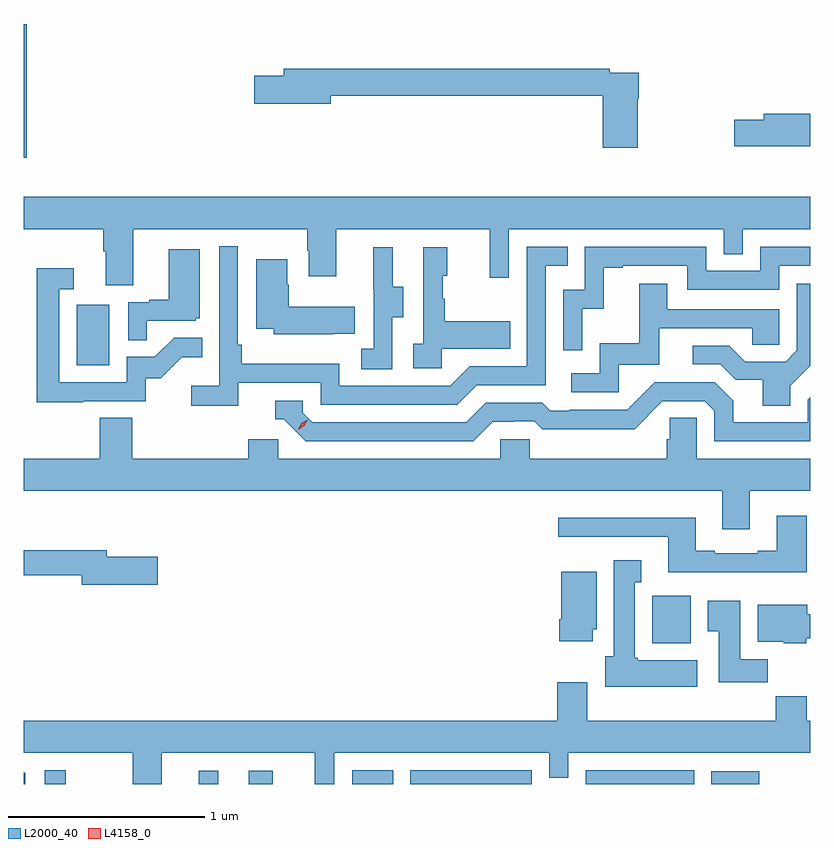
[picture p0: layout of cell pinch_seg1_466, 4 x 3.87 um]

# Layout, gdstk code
import gdstk
lib = gdstk.Library(unit=1e-6, precision=1e-09)
def R(c, l, rs):  # rectangles x0, y0, x1, y1
    for r in rs: c.add(gdstk.rectangle(r[:2], r[2:], *l))
def P(c, l, *ps):  # polygons
    for p in ps: c.add(gdstk.Polygon(p, *l))
L2000_40 = (2000, 40)
L4158_0 = (4158, 0)

pinch_seg1_466 = lib.new_cell('pinch_seg1_466')
R(pinch_seg1_466, L2000_40, [(1077.915,534.257,1077.922,534.313), (1078.02,534.257,1078.129,534.328), (1078.805,534.257,1078.903,534.325), (1079.058,534.257,1079.182,534.325), (1079.586,534.257,1079.795,534.327), (1079.88,534.257,1080.498,534.327), (1080.774,534.257,1081.326,534.327), (1081.411,534.257,1081.657,534.321), (1081.112,534.974,1081.309,535.216), (1078.184,536.388,1078.348,536.695), (1077.915,537.444,1077.929,538.124)])
P(pinch_seg1_466, L2000_40, [(1081.038,537.743),(1081.043,537.743),(1081.043,537.876),(1080.896,537.876),(1080.896,537.896),(1079.237,537.896),(1079.237,537.86),(1079.088,537.86),(1079.088,537.718),(1079.476,537.718),(1079.476,537.76),(1080.86,537.76),(1080.86,537.495),(1081.038,537.495)],
  [(1081.915,537.668),(1081.679,537.668),(1081.679,537.638),(1081.53,537.638),(1081.53,537.503),(1081.915,537.503)],
  [(1078.471,537.08),(1079.356,537.08),(1079.356,536.969),(1079.363,536.969),(1079.363,536.841),(1079.503,536.841),(1079.503,537.08),(1080.284,537.08),(1080.284,536.832),(1080.381,536.832),(1080.381,537.08),(1081.476,537.08),(1081.476,536.953),(1081.572,536.953),(1081.572,537.08),(1081.915,537.08),(1081.915,537.244),(1077.915,537.244),(1077.915,537.08),(1078.319,537.08),(1078.319,536.968),(1078.331,536.968),(1078.331,536.794),(1078.471,536.794)],
  [(1079.006,536.298),(1079.424,536.298),(1079.424,536.187),(1080.121,536.187),(1080.22,536.286),(1080.57,536.286),(1080.57,536.895),(1080.683,536.895),(1080.683,536.991),(1080.474,536.991),(1080.474,536.382),(1080.183,536.382),(1080.084,536.283),(1079.52,536.283),(1079.52,536.395),(1079.024,536.395),(1079.024,536.491),(1079.004,536.491),(1079.004,536.992),(1078.908,536.992),(1078.908,536.284),(1078.767,536.284),(1078.767,536.182),(1079.006,536.182)],
  [(1080.756,536.675),(1080.866,536.675),(1080.866,536.883),(1080.961,536.883),(1080.961,536.895),(1081.29,536.895),(1081.29,536.772),(1081.758,536.772),(1081.758,536.895),(1081.915,536.895),(1081.915,536.991),(1081.662,536.991),(1081.662,536.868),(1081.386,536.868),(1081.386,536.991),(1080.768,536.991),(1080.768,536.772),(1080.66,536.772),(1080.66,536.463),(1080.756,536.463)],
  [(1079.79,536.632),(1079.845,536.632),(1079.845,536.787),(1079.791,536.787),(1079.791,536.989),(1079.693,536.989),(1079.693,536.775),(1079.694,536.775),(1079.694,536.471),(1079.631,536.471),(1079.631,536.368),(1079.79,536.368)],
  [(1080.042,536.471),(1080.389,536.471),(1080.389,536.611),(1080.055,536.611),(1080.055,536.726),(1080.045,536.726),(1080.045,536.844),(1080.07,536.844),(1080.07,536.989),(1079.946,536.989),(1079.946,536.498),(1079.895,536.498),(1079.895,536.373),(1080.042,536.373)],
  [(1078.541,536.613),(1078.788,536.613),(1078.788,536.628),(1078.81,536.628),(1078.81,536.977),(1078.652,536.977),(1078.652,536.722),(1078.553,536.722),(1078.553,536.709),(1078.446,536.709),(1078.446,536.515),(1078.541,536.515)],
  [(1079.489,536.549),(1079.597,536.549),(1079.597,536.686),(1079.262,536.686),(1079.262,536.798),(1079.254,536.798),(1079.254,536.926),(1079.096,536.926),(1079.096,536.573),(1079.187,536.573),(1079.187,536.546),(1079.489,536.546)],
  [(1078.217,536.205),(1078.536,536.205),(1078.536,536.322),(1078.612,536.322),(1078.719,536.429),(1078.823,536.429),(1078.823,536.528),(1078.679,536.528),(1078.581,536.43),(1078.437,536.43),(1078.437,536.301),(1078.095,536.301),(1078.095,536.775),(1078.168,536.775),(1078.168,536.881),(1077.979,536.881),(1077.979,536.2),(1078.217,536.2)],
  [(1081.813,536.284),(1081.915,536.386),(1081.915,536.803),(1081.848,536.803),(1081.848,536.463),(1081.791,536.406),(1081.585,536.406),(1081.504,536.487),(1081.317,536.487),(1081.317,536.394),(1081.458,536.394),(1081.538,536.314),(1081.673,536.314),(1081.673,536.182),(1081.813,536.182)],
  [(1080.942,536.391),(1081.147,536.391),(1081.147,536.577),(1081.621,536.577),(1081.621,536.493),(1081.758,536.493),(1081.758,536.673),(1081.189,536.673),(1081.189,536.803),(1081.045,536.803),(1081.045,536.5),(1080.846,536.5),(1080.846,536.346),(1080.699,536.346),(1080.699,536.25),(1080.942,536.25)],
  [(1080.301,536.1),(1080.408,536.1),(1080.408,536.103),(1080.511,536.103),(1080.553,536.061),(1080.786,536.061),(1080.786,536.063),(1081.022,536.063),(1081.164,536.205),(1081.38,536.205),(1081.428,536.157),(1081.428,536.001),(1081.915,536.001),(1081.915,536.224),(1081.902,536.211),(1081.902,536.097),(1081.525,536.097),(1081.525,536.207),(1081.431,536.301),(1081.125,536.301),(1080.984,536.16),(1080.691,536.16),(1080.691,536.157),(1080.592,536.157),(1080.553,536.196),(1080.264,536.196),(1080.165,536.097),(1079.382,536.097),(1079.334,536.145),(1079.334,536.208),(1079.195,536.208),(1079.195,536.112),(1079.238,536.112),(1079.349,536.001),(1080.202,536.001)],
  [(1081.609,535.748),(1081.915,535.748),(1081.915,535.912),(1081.338,535.912),(1081.338,536.12),(1081.201,536.12),(1081.201,536.01),(1081.187,536.01),(1081.187,535.912),(1080.489,535.912),(1080.489,536.01),(1080.339,536.01),(1080.339,535.912),(1079.208,535.912),(1079.208,536.01),(1079.057,536.01),(1079.057,535.912),(1078.466,535.912),(1078.466,536.12),(1078.301,536.12),(1078.301,535.912),(1077.915,535.912),(1077.915,535.748),(1081.469,535.748),(1081.469,535.554),(1081.609,535.554)],
  [(1081.898,535.621),(1081.745,535.621),(1081.745,535.444),(1081.649,535.444),(1081.649,535.431),(1081.429,535.431),(1081.429,535.444),(1081.333,535.444),(1081.333,535.612),(1080.633,535.612),(1080.633,535.515),(1081.193,535.515),(1081.193,535.334),(1081.898,535.334)],
  [(1078.597,535.413),(1078.336,535.413),(1078.336,535.447),(1077.915,535.447),(1077.915,535.318),(1078.208,535.318),(1078.208,535.271),(1078.597,535.271)],
  [(1081.342,534.886),(1081.038,534.886),(1081.038,534.9),(1081.024,534.9),(1081.024,535.283),(1081.057,535.283),(1081.057,535.396),(1080.917,535.396),(1080.917,534.906),(1080.872,534.906),(1080.872,534.752),(1081.342,534.752)],
  [(1080.808,535.044),(1080.829,535.044),(1080.829,535.336),(1080.65,535.336),(1080.65,535.096),(1080.638,535.096),(1080.638,534.984),(1080.808,534.984)],
  [(1081.7,534.892),(1081.561,534.892),(1081.561,535.189),(1081.394,535.189),(1081.394,535.033),(1081.451,535.033),(1081.451,534.774),(1081.7,534.774)],
  [(1081.896,534.998),(1081.915,534.998),(1081.915,535.12),(1081.9,535.12),(1081.9,535.168),(1081.649,535.168),(1081.649,534.98),(1081.782,534.98),(1081.782,534.974),(1081.896,534.974)],
  [(1078.615,534.416),(1079.396,534.416),(1079.396,534.257),(1079.493,534.257),(1079.493,534.416),(1080.588,534.416),(1080.588,534.289),(1080.684,534.289),(1080.684,534.416),(1081.915,534.416),(1081.915,534.58),(1081.898,534.58),(1081.898,534.704),(1081.741,534.704),(1081.741,534.58),(1080.781,534.58),(1080.781,534.775),(1080.629,534.775),(1080.629,534.58),(1077.915,534.58),(1077.915,534.416),(1078.468,534.416),(1078.468,534.257),(1078.615,534.257)])
P(pinch_seg1_466, L4158_0, [(1079.31,536.06),(1079.31,536.06),(1079.326,536.092),(1079.358,536.111),(1079.358,536.111),(1079.358,536.111),(1079.341,536.079),(1079.31,536.06)])

lib.write_gds('pinch_seg1_466.gds')
